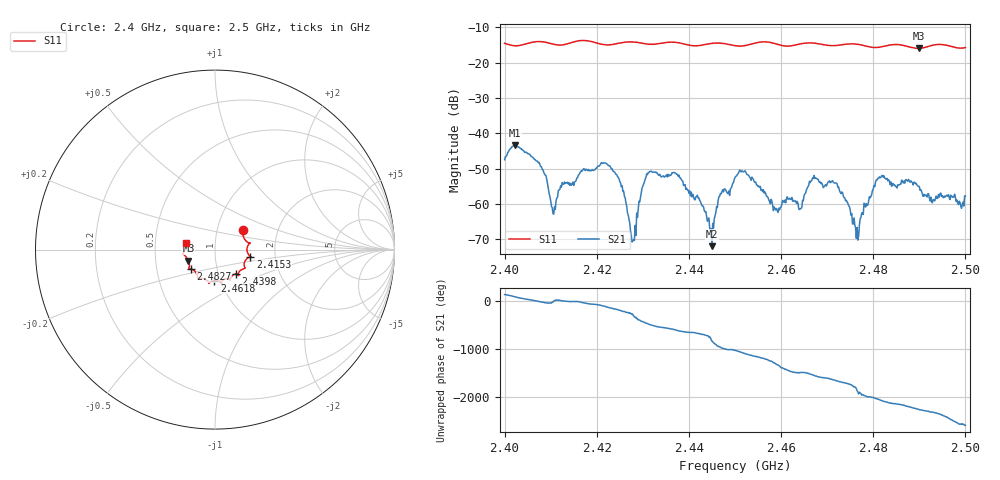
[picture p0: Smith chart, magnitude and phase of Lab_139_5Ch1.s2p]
# Hz S RI R 50
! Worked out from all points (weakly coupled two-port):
!   601 points, 2.4 GHz to 2.5 GHz, reference 50 ohm
!   highest |S21| = -43.41 dB at 2.4023 GHz (marker M1); lowest = -71.9 dB at 2.445 GHz (marker M2)
!   lowest |S11| = -15.9 dB at 2.4898 GHz (marker M3), VSWR 1.38, Z = 36.9 - j4.63 ohm
!   |S11| at or under -10 dB: start of sweep to end of sweep
!   S12 and S22 are empty: the file has one direction only
!   S11 on the Smith chart (normalised r, x): 2.4 GHz: 1.33, +0.29; 2.4153 GHz: 1.48, -0.12; 2.4398 GHz: 1.21, -0.34; 2.4618 GHz: 0.94, -0.33; 2.4827 GHz: 0.75, -0.17; 2.5 GHz: 0.72, +0.06
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2.4e9  0.1556 0.1068  -0.00245 0.00346  0 0  0 0
2.402333e9  0.1597 0.0683  0.00156 0.00657  0 0  0 0
2.407833e9  0.1955 0.0375  0.00303 -0.00156  0 0  0 0
2.4105e9  0.1824 0.0207  0.000631 -0.000374  0 0  0 0
2.415333e9  0.1963 -0.0392  0.002 -0.000587  0 0  0 0
2.416667e9  0.2022 -0.0431  0.00241 -0.00174  0 0  0 0
2.423833e9  0.1623 -0.0859  -0.0028 -0.000531  0 0  0 0
2.428e9  0.1669 -0.104  0.000234 0.000205  0 0  0 0
2.430333e9  0.1494 -0.1115  -6.98e-05 -0.00204  0 0  0 0
2.433333e9  0.13 -0.1338  -0.0026 7.61e-05  0 0  0 0
2.439833e9  0.1156 -0.1361  0.00061 0.00145  0 0  0 0
2.445e9  0.0838 -0.1687  -0.00012 -0.000224  0 0  0 0
2.45e9  0.0652 -0.1623  0.00141 0.0019  0 0  0 0
2.461833e9  -0.00341 -0.1727  0.00119 -0.000215  0 0  0 0
2.464333e9  -0.0301 -0.1836  0.000597 -0.000623  0 0  0 0
2.466667e9  -0.0346 -0.188  0.000134 -0.00215  0 0  0 0
2.472e9  -0.0702 -0.1611  -0.00157 0.00122  0 0  0 0
2.4765e9  -0.0958 -0.1558  0.000224 -0.000411  0 0  0 0
2.482667e9  -0.135 -0.1086  0.000798 0.00216  0 0  0 0
2.483333e9  -0.1401 -0.1082  0.00139 0.00173  0 0  0 0
2.489833e9  -0.1478 -0.0611  0.000197 -0.00177  0 0  0 0
2.5e9  -0.1595 0.0385  0.000677 -0.00111  0 0  0 0
